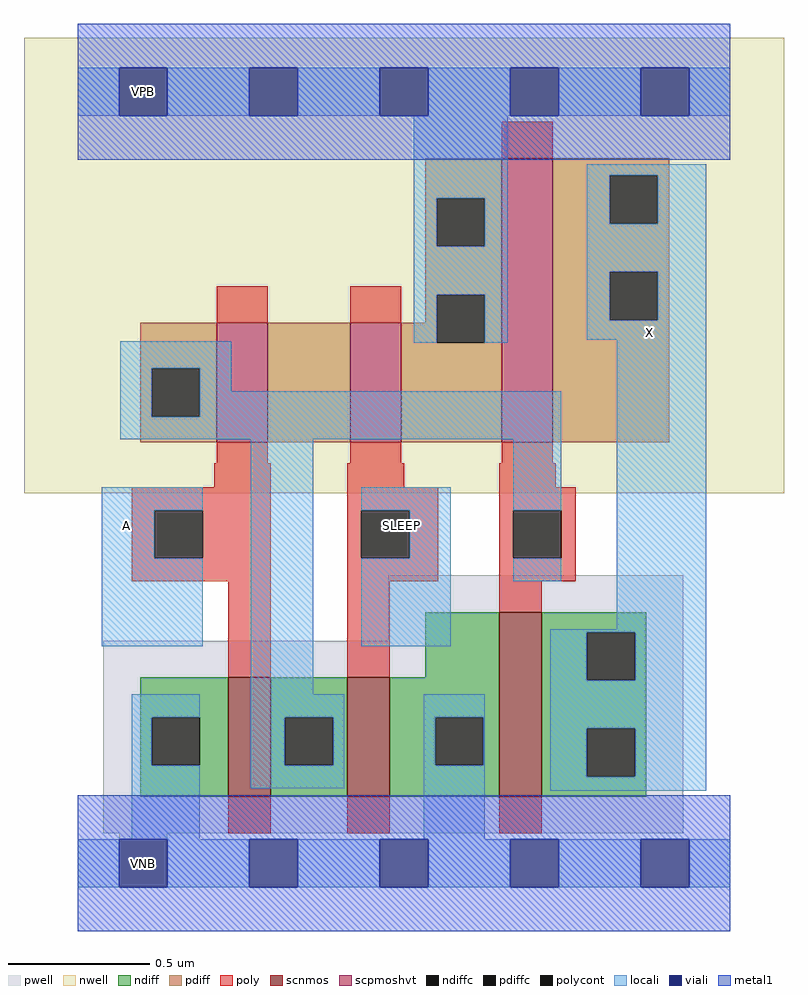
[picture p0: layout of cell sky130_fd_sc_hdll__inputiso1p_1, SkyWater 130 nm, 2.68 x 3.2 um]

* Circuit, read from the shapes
.subckt sky130_fd_sc_hdll__inputiso1p_1 A SLEEP VGND VNB VPB VPWR X
XM1 n1 A VGND VNB sky130_fd_pr__nfet_01v8 w=0.42 l=0.15
XM2 VGND SLEEP n1 VNB sky130_fd_pr__nfet_01v8 w=0.42 l=0.15
XM3 X n1 VGND VNB sky130_fd_pr__nfet_01v8 w=0.65 l=0.15
XM4 n2 A n1 VPB sky130_fd_pr__pfet_01v8_hvt w=0.42 l=0.18
XM5 VPWR SLEEP n2 VPB sky130_fd_pr__pfet_01v8_hvt w=0.42 l=0.18
XM6 X n1 VPWR VPB sky130_fd_pr__pfet_01v8_hvt w=1 l=0.18
.ends

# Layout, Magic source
magic
tech sky130A
magscale 1 2
<< nwell >>
rect -38 261 498 582
<< pwell >>
rect 219 157 427 203
rect 18 21 427 157
rect 29 -17 63 21
<< scnmos >>
rect 106 47 136 131
rect 190 47 220 131
rect 297 47 327 177
<< scpmoshvt >>
rect 98 297 134 381
rect 192 297 228 381
rect 299 297 335 497
<< ndiff >>
rect 245 131 297 177
rect 44 103 106 131
rect 44 69 52 103
rect 86 69 106 103
rect 44 47 106 69
rect 136 103 190 131
rect 136 69 146 103
rect 180 69 190 103
rect 136 47 190 69
rect 220 103 297 131
rect 220 69 252 103
rect 286 69 297 103
rect 220 47 297 69
rect 327 163 401 177
rect 327 129 359 163
rect 393 129 401 163
rect 327 95 401 129
rect 327 61 359 95
rect 393 61 401 95
rect 327 47 401 61
<< pdiff >>
rect 245 469 299 497
rect 245 435 253 469
rect 287 435 299 469
rect 245 401 299 435
rect 245 381 253 401
rect 44 349 98 381
rect 44 315 52 349
rect 86 315 98 349
rect 44 297 98 315
rect 134 297 192 381
rect 228 367 253 381
rect 287 367 299 401
rect 228 297 299 367
rect 335 485 417 497
rect 335 451 375 485
rect 409 451 417 485
rect 335 417 417 451
rect 335 383 375 417
rect 409 383 417 417
rect 335 297 417 383
<< ndiffc >>
rect 52 69 86 103
rect 146 69 180 103
rect 252 69 286 103
rect 359 129 393 163
rect 359 61 393 95
<< pdiffc >>
rect 253 435 287 469
rect 52 315 86 349
rect 253 367 287 401
rect 375 451 409 485
rect 375 383 409 417
<< poly >>
rect 299 497 335 523
rect 98 381 134 407
rect 192 381 228 407
rect 98 282 134 297
rect 192 282 228 297
rect 299 282 335 297
rect 96 265 136 282
rect 38 249 136 265
rect 38 215 54 249
rect 88 215 136 249
rect 38 199 136 215
rect 106 131 136 199
rect 190 265 230 282
rect 297 265 337 282
rect 190 249 254 265
rect 190 215 200 249
rect 234 215 254 249
rect 190 199 254 215
rect 297 249 351 265
rect 297 215 307 249
rect 341 215 351 249
rect 297 199 351 215
rect 190 131 220 199
rect 297 177 327 199
rect 106 21 136 47
rect 190 21 220 47
rect 297 21 327 47
<< polycont >>
rect 54 215 88 249
rect 200 215 234 249
rect 307 215 341 249
<< locali >>
rect 0 527 29 561
rect 63 527 121 561
rect 155 527 213 561
rect 247 527 305 561
rect 339 527 397 561
rect 431 527 460 561
rect 237 469 303 527
rect 237 435 253 469
rect 287 435 303 469
rect 237 401 303 435
rect 30 349 108 368
rect 237 367 253 401
rect 287 367 303 401
rect 359 485 443 493
rect 359 451 375 485
rect 409 451 443 485
rect 359 417 443 451
rect 359 383 375 417
rect 409 383 443 417
rect 359 369 443 383
rect 30 315 52 349
rect 86 333 108 349
rect 86 315 341 333
rect 30 299 341 315
rect 17 249 88 265
rect 17 215 54 249
rect 17 153 88 215
rect 122 119 166 299
rect 200 249 263 265
rect 234 215 263 249
rect 200 153 263 215
rect 307 249 341 299
rect 307 199 341 215
rect 380 165 443 369
rect 333 163 443 165
rect 333 129 359 163
rect 393 129 443 163
rect 38 103 86 119
rect 38 69 52 103
rect 38 17 86 69
rect 122 103 188 119
rect 122 69 146 103
rect 180 69 188 103
rect 122 53 188 69
rect 244 103 287 119
rect 244 69 252 103
rect 286 69 287 103
rect 244 17 287 69
rect 333 95 443 129
rect 333 61 359 95
rect 393 61 443 95
rect 333 51 443 61
rect 0 -17 29 17
rect 63 -17 121 17
rect 155 -17 213 17
rect 247 -17 305 17
rect 339 -17 397 17
rect 431 -17 460 17
<< viali >>
rect 29 527 63 561
rect 121 527 155 561
rect 213 527 247 561
rect 305 527 339 561
rect 397 527 431 561
rect 29 -17 63 17
rect 121 -17 155 17
rect 213 -17 247 17
rect 305 -17 339 17
rect 397 -17 431 17
<< metal1 >>
rect 0 561 460 592
rect 0 527 29 561
rect 63 527 121 561
rect 155 527 213 561
rect 247 527 305 561
rect 339 527 397 561
rect 431 527 460 561
rect 0 496 460 527
rect 0 17 460 48
rect 0 -17 29 17
rect 63 -17 121 17
rect 155 -17 213 17
rect 247 -17 305 17
rect 339 -17 397 17
rect 431 -17 460 17
rect 0 -48 460 -17
<< labels >>
flabel locali s 211 221 245 255 0 FreeSans 200 0 0 0 SLEEP
port 2 nsew signal input
flabel locali s 386 357 420 391 0 FreeSans 200 0 0 0 X
port 7 nsew signal output
flabel locali s 17 221 51 255 0 FreeSans 200 0 0 0 A
port 1 nsew signal input
flabel nwell s 29 527 63 561 0 FreeSans 200 0 0 0 VPB
port 5 nsew power bidirectional
flabel pwell s 29 -17 63 17 0 FreeSans 200 0 0 0 VNB
port 4 nsew ground bidirectional
flabel metal1 s 29 -17 63 17 0 FreeSans 200 0 0 0 VGND
port 3 nsew ground bidirectional
flabel metal1 s 29 527 63 561 0 FreeSans 200 0 0 0 VPWR
port 6 nsew power bidirectional
rlabel comment s 0 0 0 0 4 sky130_fd_sc_hdll__lpflow_inputiso1p_1
<< properties >>
string LEFsite unithd
string LEFclass CORE
string FIXED_BBOX 0 0 460 544
string GDS_FILE $PDKPATH/libs.ref/sky130_fd_sc_hdll/gds/sky130_fd_sc_hdll.gds
string LEFsymmetry X Y R90
string GDS_END 3009158
string GDS_START 3004844
string LEFproperties maskLayoutSubType "abstract" prCellType "standard" originalViewName "layout"
<< end >>
